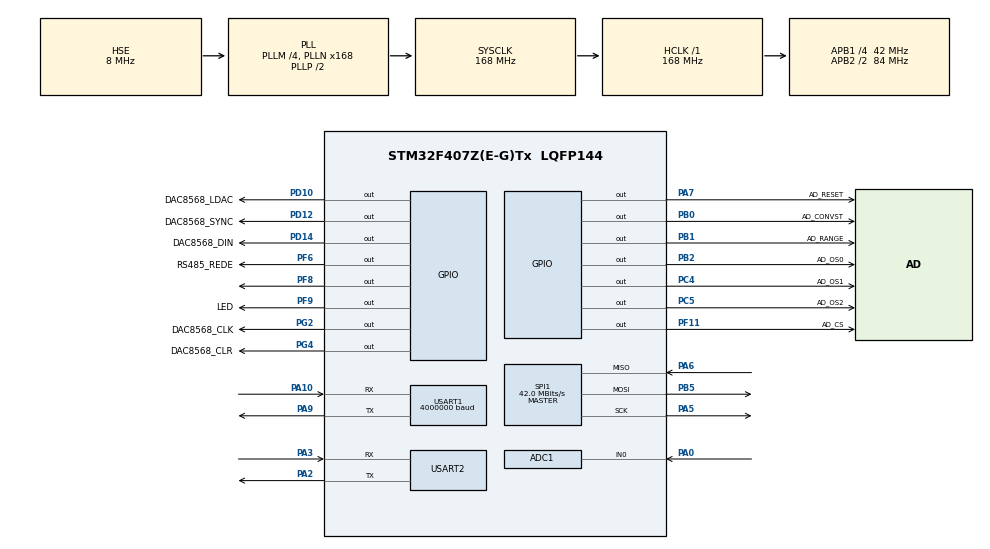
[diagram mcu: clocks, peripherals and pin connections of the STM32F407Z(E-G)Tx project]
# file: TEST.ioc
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ADC1.Channel-0\#ChannelRegularConversion=ADC_CHANNEL_0
ADC1.ContinuousConvMode=ENABLE
ADC1.DMAContinuousRequests=ENABLE
ADC1.NbrOfConversionFlag=1
ADC1.Rank-0\#ChannelRegularConversion=1
ADC1.SamplingTime-0\#ChannelRegularConversion=ADC_SAMPLETIME_15CYCLES
ADC1.master=1
Dma.ADC1.2.Direction=DMA_PERIPH_TO_MEMORY
Dma.ADC1.2.FIFOMode=DMA_FIFOMODE_DISABLE
Dma.ADC1.2.Instance=DMA2_Stream0
Dma.ADC1.2.MemDataAlignment=DMA_MDATAALIGN_HALFWORD
Dma.ADC1.2.MemInc=DMA_MINC_ENABLE
Dma.ADC1.2.Mode=DMA_CIRCULAR
Dma.ADC1.2.PeriphDataAlignment=DMA_PDATAALIGN_HALFWORD
Dma.ADC1.2.PeriphInc=DMA_PINC_DISABLE
Dma.ADC1.2.Priority=DMA_PRIORITY_HIGH
Dma.Request0=USART1_RX
Dma.Request1=USART1_TX
Dma.Request2=ADC1
Dma.USART1_RX.0.Direction=DMA_PERIPH_TO_MEMORY
Dma.USART1_RX.0.FIFOMode=DMA_FIFOMODE_DISABLE
Dma.USART1_RX.0.Instance=DMA2_Stream2
Dma.USART1_RX.0.MemDataAlignment=DMA_MDATAALIGN_BYTE
Dma.USART1_RX.0.MemInc=DMA_MINC_ENABLE
Dma.USART1_RX.0.Mode=DMA_NORMAL
Dma.USART1_RX.0.PeriphDataAlignment=DMA_PDATAALIGN_BYTE
Dma.USART1_RX.0.PeriphInc=DMA_PINC_DISABLE
Dma.USART1_RX.0.Priority=DMA_PRIORITY_LOW
Dma.USART1_TX.1.Direction=DMA_MEMORY_TO_PERIPH
Dma.USART1_TX.1.FIFOMode=DMA_FIFOMODE_DISABLE
Dma.USART1_TX.1.Instance=DMA2_Stream7
Dma.USART1_TX.1.MemDataAlignment=DMA_MDATAALIGN_BYTE
Dma.USART1_TX.1.MemInc=DMA_MINC_ENABLE
Dma.USART1_TX.1.Mode=DMA_NORMAL
Dma.USART1_TX.1.PeriphDataAlignment=DMA_PDATAALIGN_BYTE
Dma.USART1_TX.1.PeriphInc=DMA_PINC_DISABLE
Dma.USART1_TX.1.Priority=DMA_PRIORITY_LOW
Mcu.Family=STM32F4
Mcu.Name=STM32F407Z(E-G)Tx
Mcu.Package=LQFP144
NVIC.DMA2_Stream0_IRQn=true\:0\:0\:false\:false\:true\:false\:true\:true
NVIC.DMA2_Stream2_IRQn=true\:0\:0\:false\:false\:true\:false\:true\:true
NVIC.DMA2_Stream7_IRQn=true\:0\:0\:false\:false\:true\:false\:true\:true
NVIC.PriorityGroup=NVIC_PRIORITYGROUP_4
NVIC.TIM2_IRQn=true\:0\:0\:false\:false\:true\:true\:true\:true
NVIC.TIM4_IRQn=true\:0\:0\:false\:false\:true\:true\:true\:true
NVIC.USART1_IRQn=true\:0\:0\:false\:false\:true\:true\:true\:true
PA0-WKUP.Signal=ADCx_IN0
PA10.GPIO_ModeDefaultPP=GPIO_MODE_AF_PP
PA10.GPIO_Speed=GPIO_SPEED_FREQ_HIGH
PA10.Mode=Asynchronous
PA10.Signal=USART1_RX
PA13.Mode=Serial_Wire
PA13.Signal=SYS_JTMS-SWDIO
PA14.Mode=Serial_Wire
PA14.Signal=SYS_JTCK-SWCLK
PA2.Mode=Asynchronous
PA2.Signal=USART2_TX
PA3.Mode=Asynchronous
PA3.Signal=USART2_RX
PA5.Mode=Full_Duplex_Master
PA5.Signal=SPI1_SCK
PA6.Mode=Full_Duplex_Master
PA6.Signal=SPI1_MISO
PA7.GPIO_Label=AD_RESET
PA7.GPIO_Speed=GPIO_SPEED_FREQ_VERY_HIGH
PA7.Signal=GPIO_Output
PA9.GPIO_PuPd=GPIO_NOPULL
PA9.GPIO_Speed=GPIO_SPEED_FREQ_HIGH
PA9.Mode=Asynchronous
PA9.Signal=USART1_TX
PB0.GPIO_Label=AD_CONVST
PB0.GPIO_Speed=GPIO_SPEED_FREQ_VERY_HIGH
PB0.Signal=GPIO_Output
PB1.GPIO_Label=AD_RANGE
PB1.GPIO_Speed=GPIO_SPEED_FREQ_VERY_HIGH
PB1.Signal=GPIO_Output
PB2.GPIO_Label=AD_OS0
PB2.GPIO_Speed=GPIO_SPEED_FREQ_VERY_HIGH
PB2.Signal=GPIO_Output
PB5.Mode=Full_Duplex_Master
PB5.Signal=SPI1_MOSI
PC4.GPIO_Label=AD_OS1
PC4.GPIO_Speed=GPIO_SPEED_FREQ_VERY_HIGH
PC4.Signal=GPIO_Output
PC5.GPIO_Label=AD_OS2
PC5.GPIO_Speed=GPIO_SPEED_FREQ_VERY_HIGH
PC5.Signal=GPIO_Output
PD10.GPIO_Label=DAC8568_LDAC
PD10.GPIO_Speed=GPIO_SPEED_FREQ_VERY_HIGH
PD10.Signal=GPIO_Output
PD12.GPIO_Label=DAC8568_SYNC
PD12.GPIO_Speed=GPIO_SPEED_FREQ_VERY_HIGH
PD12.Signal=GPIO_Output
PD14.GPIO_Label=DAC8568_DIN
PD14.GPIO_Speed=GPIO_SPEED_FREQ_VERY_HIGH
PD14.Signal=GPIO_Output
PF11.GPIO_Label=AD_CS
PF11.GPIO_Speed=GPIO_SPEED_FREQ_VERY_HIGH
PF11.Signal=GPIO_Output
PF6.GPIO_Label=RS485_REDE
PF6.GPIO_Speed=GPIO_SPEED_FREQ_VERY_HIGH
PF6.Signal=GPIO_Output
PF8.GPIO_Speed=GPIO_SPEED_FREQ_VERY_HIGH
PF8.Signal=GPIO_Output
PF9.GPIO_Label=LED
PF9.GPIO_Speed=GPIO_SPEED_FREQ_VERY_HIGH
PF9.Signal=GPIO_Output
PG2.GPIO_Label=DAC8568_CLK
PG2.GPIO_Speed=GPIO_SPEED_FREQ_VERY_HIGH
PG2.Signal=GPIO_Output
PG4.GPIO_Label=DAC8568_CLR
PG4.GPIO_Speed=GPIO_SPEED_FREQ_VERY_HIGH
PG4.Signal=GPIO_Output
PH0-OSC_IN.Mode=HSE-External-Oscillator
PH0-OSC_IN.Signal=RCC_OSC_IN
PH1-OSC_OUT.Mode=HSE-External-Oscillator
PH1-OSC_OUT.Signal=RCC_OSC_OUT
ProjectManager.HeapSize=0x300
ProjectManager.StackSize=0x2500
ProjectManager.TargetToolchain=MDK-ARM V5.32
RCC.48MHZClocksFreq_Value=84000000
RCC.AHBFreq_Value=168000000
RCC.APB1CLKDivider=RCC_HCLK_DIV4
RCC.APB1Freq_Value=42000000
RCC.APB1TimFreq_Value=84000000
RCC.APB2CLKDivider=RCC_HCLK_DIV2
RCC.APB2Freq_Value=84000000
RCC.APB2TimFreq_Value=168000000
RCC.CortexFreq_Value=168000000
RCC.HCLKFreq_Value=168000000
RCC.HSE_VALUE=8000000
RCC.HSI_VALUE=16000000
RCC.LSE_VALUE=32768
RCC.PLLM=4
RCC.PLLN=168
RCC.PLLSourceVirtual=RCC_PLLSOURCE_HSE
RCC.SYSCLKFreq_VALUE=168000000
RCC.SYSCLKSource=RCC_SYSCLKSOURCE_PLLCLK
RCC.VCOOutputFreq_Value=336000000
SH.ADCx_IN0.0=ADC1_IN0,IN0
SPI1.BaudRatePrescaler=SPI_BAUDRATEPRESCALER_2
SPI1.CLKPhase=SPI_PHASE_2EDGE
SPI1.CLKPolarity=SPI_POLARITY_HIGH
SPI1.CalculateBaudRate=42.0 MBits/s
SPI1.DataSize=SPI_DATASIZE_16BIT
SPI1.Direction=SPI_DIRECTION_2LINES
SPI1.Mode=SPI_MODE_MASTER
SPI1.VirtualType=VM_MASTER
TIM2.Period=249
TIM2.Prescaler=71
TIM4.Period=999
TIM4.Prescaler=83
USART1.BaudRate=4000000
USART1.VirtualMode=VM_ASYNC
USART2.VirtualMode=VM_ASYNC
VP_TIM2_VS_ClockSourceINT.Mode=Internal
VP_TIM4_VS_ClockSourceINT.Mode=Internal
board=custom

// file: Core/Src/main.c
/* USER CODE BEGIN Header */
/**
  ******************************************************************************
  * @file           : main.c
  * @brief          : Main program body
  ******************************************************************************
  * @attention
  *
  * Copyright (c) 2025 STMicroelectronics.
  * All rights reserved.
  *
  * This software is licensed under terms that can be found in the LICENSE file
  * in the root directory of this software component.
  * If no LICENSE file comes with this software, it is provided AS-IS.
  *
  ******************************************************************************
  */

	/* =================================================================================================
 * -------------------------------------------------------------------------------------------------
 * 模块职责：
 *   - 完成系统上电初始化（HAL/CubeMX 外设、时钟、GPIO、DMA、USART、TIM、IWDG）。
 *   - 构建并持有一个全局的应用对象 App_t（包含通信总线、控制器、期望/实际状态、轨迹等）。
 *   - 将 Keil/IDE 调试“面板参数”（g_dbg）应用到系统：轨迹参数、PID、轴使能、归零等。
 *   - 以 TIM2 周期中断为控制循环节拍源，回调中执行 App_Tick(&g_app) 完成 1 个控制周期。
 *   - 主循环中负责：应用面板修改、维护通信看门狗、上报状态（串口2打印）、轻负载延时。
 *
 * 通信要点（本项目为 RS485 半双工，见 usart.c/comm 层）：
 *   - 发送方向：置 DE=1 → 发送 → 等待 TX 完成（TC=1）→ 按需等待回转延时 → DE=0。
 *   - 接收方向：RE 使能（常为低有效/高有效视收发器），空闲/IDLE 用于帧边界判定。
 *   - 多节点（4 台电机）地址 node_ids[] 用于主站轮询/广播。
 *
 * 平面绳驱并联机器人（2D-CDPR）控制链路：
 *   传感采样 → 几何/运动学映射 → 张力/长度分配 → 轴级环路（PID/限幅/反饱和）→ RS485 下发。
 *
 * 安全/鲁棒性关注点（建议在控制/comm层实现，主控此处仅提示）：
 *   - 看门狗超时、串口帧超时/重发、CRC 校验失败统计。
 *   - 轨迹切换/参数热更新时的“原子性”：先写 g_app.desired，再触发 BuildTrajectoryFromParams()。
 *   - 物理限幅：避免积分风up（use_cond_i / i_deadband 已体现在 PIDPanel）。
 * =================================================================================================*/
/* USER CODE END Header */
#include "main.h"
#include "adc.h"
#include "dma.h"
#include "spi.h"
#include "tim.h"
#include "usart.h"
#include "gpio.h"

/* USER CODE BEGIN Includes */
#include <string.h>
#include <math.h>
#include "app.h"
#include <stdio.h>
#include "bsp_spi_ad7606.h"
/* USER CODE END Includes */

/* USER CODE BEGIN PD */
#define KK  9.042831f
/* USER CODE END PD */

/* USER CODE BEGIN PV */
volatile int flag_solve = 0;
volatile int flag_solv = 0;
int16_t my_adc_frame[CH_NUM] = {0};
volatile int16_t adc_frame[8] = {0};
static App_t g_app;		// 全局应用对象（控制/通信/轨迹都在里面）
/* —— 全局调试面板（Keil里直接改它即可）—— */
DebugPanel_t g_dbg = {
    /* zero_now */      0,
    /* mode */          1,              /* 默认直线 */
		/* error_code */    0,
    /* apply_motion */  0,
		/* start_motion */		0,
    /* line */          { 0.0f, 0.0f, 0.1f, 0.0f, 0.0f, 0.0f },
    /* arc  */          { 0.0f, 0.0f, 0.10f, 0.0f, (float)M_PI/1.0f, 0.0f, 0.0f },
    /* sampler */       { 150, 150, 0 },
    /* pid[] */
        {10.0f ,1000.0f, 0.4f, 0.001f, -20.0f,20.0f, 100.0f, 1, 0.0f, 0.0005f, 4.5, 6.5f},
    /* apply_pid */     0,
    /* axis_enable */   {1,1,1,1},

};
/* USER CODE END PV */

void SystemClock_Config(void);
/* USER CODE BEGIN PFP */
static void ApplyDebugPanelIfNeeded(void);
void IK_CDPR_SetL0(const float L0_m[4]);

/* USER CODE END PFP */

/* USER CODE BEGIN 0 */
/* ===== HAL 串口回调：把事件转发给通信层（comm_rs485.c）
 * 注意：在 stm32f4xx_it.c 的 USARTx_IRQHandler() 里必须调用 HAL_UART_IRQHandler(&huartx)，
 * HAL 才会触发这些回调。CubeMX 默认会生成。
 */
void HAL_UART_TxCpltCallback(UART_HandleTypeDef *huart){ CommBus_OnTxCplt(&g_app.bus, huart); flag_solv++;}
void HAL_UART_RxCpltCallback(UART_HandleTypeDef *huart){ CommBus_OnRxCplt(&g_app.bus, huart); }
void HAL_UART_ErrorCallback (UART_HandleTypeDef *huart){ CommBus_OnError (&g_app.bus, huart); }

/* TIM2 4kHz：执行本周期控制 */
void HAL_TIM_PeriodElapsedCallback(TIM_HandleTypeDef *htim)
{
    if (htim->Instance == TIM2) {
				ad7606_IRQSrc();
        App_Tick(&g_app);
		if (GetAdcFrame(my_adc_frame))
			{
					for(int i=0;i<8;i++){
						adc_frame[i] = my_adc_frame[i];
					}
			}
    }
}

/* —— 将调试面板改动“应用”到系统（主循环中调用）—— */
static void ApplyDebugPanelIfNeeded(void)
{
    for (int i=0; i<APP_MOTORS; i++) {
        Control_EnableAxis(&g_app.ctl, i, g_dbg.axis_enable[i] ? 1 : 0);
    }

    if (g_dbg.zero_now) {
        App_ZeroNow(&g_app);
        g_dbg.zero_now = 0;
    }

    // 当用户点击 apply_motion 时，才同步所有轨迹参数
    if (g_dbg.apply_motion) {
        g_dbg.error_code = 0; // 清除上一次的错误码

        if (g_dbg.mode == 1) {
            App_SetLine(&g_app,
                (TP2_Point){g_dbg.line.p0x, g_dbg.line.p0y},
                (TP2_Point){g_dbg.line.p1x, g_dbg.line.p1y},
                g_dbg.line.yaw0, g_dbg.line.yawf);
        } else if (g_dbg.mode == 2) {
            App_SetArc(&g_app,
                (TP2_Point){g_dbg.arc.cx, g_dbg.arc.cy},
                g_dbg.arc.R, g_dbg.arc.phi0, g_dbg.arc.phi1,
                g_dbg.arc.yaw0, g_dbg.arc.yawf);
        }

        // 必须同时同步时间轴参数
        g_app.desired.freq = g_dbg.sampler.freq;
        g_app.desired.points_duration = g_dbg.sampler.points_duration;

        g_dbg.apply_motion = 0;
    }

    if (g_dbg.apply_pid) {
        for (int i=0; i<APP_MOTORS; i++) {
            PIDPanel_t p = g_dbg.pid;
            Control_ConfigAxisPID(&g_app.ctl, i, p.kp, p.ki, p.kd, p.d_alpha, p.out_min, p.out_max, p.accel_max, p.use_cond_i, p.u_init, p.i_deadband, p.kp_scale_threshold, p.kp_near);
        }
        g_dbg.apply_pid = 0;
    }
}

/* USER CODE END 0 */

int main(void)
{

  /* MCU Configuration--------------------------------------------------------*/

  /* Reset of all peripherals, Initializes the Flash interface and the Systick. */
  HAL_Init();

  /* Configure the system clock */
  SystemClock_Config();

  /* Initialize all configured peripherals */
  MX_GPIO_Init();
  MX_DMA_Init();
  MX_USART1_UART_Init();
  MX_TIM2_Init();
  MX_USART2_UART_Init();
  MX_ADC1_Init();
  MX_SPI1_Init();
  MX_TIM4_Init();
  /* USER CODE BEGIN 2 */

	//run_jacobian_validation_test();
	bsp_InitAD7606();
	ad7606_Sync();
	ad7606_StartRecord();
	const uint8_t node_ids[APP_MOTORS] = {0,1,2,3};
	App_Init(&g_app, &huart1,
         0, 0,
         LED_GPIO_Port, LED_Pin,
         node_ids);
	{
  /* 用你的实测/标定值替换下面四个数 */
  const float L0[4] = { 0.33662331f, 0.33662331f, 0.33662331f, 0.33662331f };
  IK_CDPR_SetL0(L0);
}

	// 1. 将 g_dbg 的初始值同步到 app->desired
	g_dbg.apply_motion = 1; // 伪造一次点击
	ApplyDebugPanelIfNeeded();

	// 2. 将 desired 同步到 applied 并构建初始轨迹
	g_app.applied = g_app.desired;
	BuildTrajectoryFromParams(&g_app, &g_app.applied);

	// 3. 初始状态必须是空闲，等待您的指令
	g_app.motion_state = MOTION_IDLE;

	/* 启动 4kHz 控制中断 */
	HAL_TIM_Base_Start_IT(&htim2);
	HAL_TIM_Base_Start_IT(&htim4);

  /* USER CODE END 2 */

  /* Infinite loop */
  while (1)
  {

    /* USER CODE BEGIN 3 */

		ApplyDebugPanelIfNeeded(); // 把 Keil 面板的更改落实到系统

    App_MainLoop(&g_app);      // 参数变化 → 自动重建轨迹；通信看门狗
		// 串口调试
//		char print_buf[256];
//		// 在数据最前面加上 "S,"，最后面加上 ",E"
//		snprintf(print_buf, sizeof(print_buf), "S,%.4f,%.4f,%.4f,%.4f,%.4f,%.4f,%.4f,%.4f,E\n",
//						 g_app.pos_set_rel[0]*KK, g_app.pos_meas_rel[0]*KK,  // 电机 1
//						 g_app.pos_set_rel[1]*KK, g_app.pos_meas_rel[1]*KK,  // 电机 2
//						 g_app.pos_set_rel[2]*KK, g_app.pos_meas_rel[2]*KK,  // 电机 3
//						 g_app.pos_set_rel[3]*KK, g_app.pos_meas_rel[3]*KK); // 电机 4
//		HAL_UART_Transmit(&huart2, (uint8_t*)print_buf, strlen(print_buf), 50);
		bool fk_success = App_FK_FromMotorPos(g_app.pos_meas_rel,	&g_app.current_pos);
		if (fk_success) {
							flag_solve++;
    } else {
        // 正解失败！
        // 这可能意味着机器人接近奇异点，或者迭代发散了。
        // 在这种情况下，g_current_platform_pose 保持为上一周期的值。
        // 你需要在这里添加错误处理逻辑，例如：
        // - 保持上一周期的控制输出
        // - 发出一个警告
        // - 切换到更安全的控制模式
			flag_solve--;
    }

  }
  /* USER CODE END 3 */
}

void SystemClock_Config(void)
{
  RCC_OscInitTypeDef RCC_OscInitStruct = {0};
  RCC_ClkInitTypeDef RCC_ClkInitStruct = {0};

  /** Configure the main internal regulator output voltage
  */
  __HAL_RCC_PWR_CLK_ENABLE();
  __HAL_PWR_VOLTAGESCALING_CONFIG(PWR_REGULATOR_VOLTAGE_SCALE1);

  /** Initializes the RCC Oscillators according to the specified parameters
  * in the RCC_OscInitTypeDef structure.
  */
  RCC_OscInitStruct.OscillatorType = RCC_OSCILLATORTYPE_HSE;
  RCC_OscInitStruct.HSEState = RCC_HSE_ON;
  RCC_OscInitStruct.PLL.PLLState = RCC_PLL_ON;
  RCC_OscInitStruct.PLL.PLLSource = RCC_PLLSOURCE_HSE;
  RCC_OscInitStruct.PLL.PLLM = 4;
  RCC_OscInitStruct.PLL.PLLN = 168;
  RCC_OscInitStruct.PLL.PLLP = RCC_PLLP_DIV2;
  RCC_OscInitStruct.PLL.PLLQ = 4;
  if (HAL_RCC_OscConfig(&RCC_OscInitStruct) != HAL_OK)
  {
    Error_Handler();
  }

  /** Initializes the CPU, AHB and APB buses clocks
  */
  RCC_ClkInitStruct.ClockType = RCC_CLOCKTYPE_HCLK|RCC_CLOCKTYPE_SYSCLK|RCC_CLOCKTYPE_PCLK1|RCC_CLOCKTYPE_PCLK2;
  RCC_ClkInitStruct.SYSCLKSource = RCC_SYSCLKSOURCE_PLLCLK;
  RCC_ClkInitStruct.AHBCLKDivider = RCC_SYSCLK_DIV1;
  RCC_ClkInitStruct.APB1CLKDivider = RCC_HCLK_DIV4;
  RCC_ClkInitStruct.APB2CLKDivider = RCC_HCLK_DIV2;

  if (HAL_RCC_ClockConfig(&RCC_ClkInitStruct, FLASH_LATENCY_5) != HAL_OK)
  {
    Error_Handler();
  }
}

void Error_Handler(void)
{
  __disable_irq();
  while (1)
  {
  }
}
